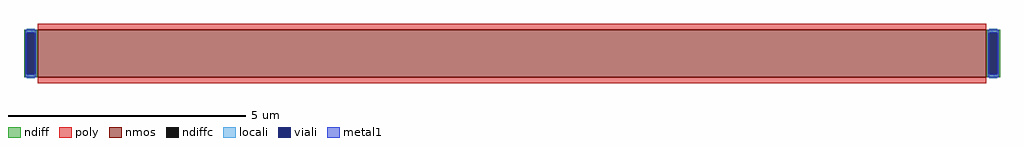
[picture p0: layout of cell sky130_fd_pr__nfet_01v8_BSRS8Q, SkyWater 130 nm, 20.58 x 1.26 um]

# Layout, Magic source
magic
tech sky130A
<< nmos >>
rect -1000 -50 1000 50
<< ndiff >>
rect -1029 44 -1000 50
rect -1029 -44 -1023 44
rect -1006 -44 -1000 44
rect -1029 -50 -1000 -44
rect 1000 44 1029 50
rect 1000 -44 1006 44
rect 1023 -44 1029 44
rect 1000 -50 1029 -44
<< ndiffc >>
rect -1023 -44 -1006 44
rect 1006 -44 1023 44
<< poly >>
rect -1000 50 1000 63
rect -1000 -63 1000 -50
<< locali >>
rect -1023 44 -1006 52
rect -1023 -52 -1006 -44
rect 1006 44 1023 52
rect 1006 -52 1023 -44
<< viali >>
rect -1023 -44 -1006 44
rect 1006 -44 1023 44
<< metal1 >>
rect -1026 44 -1003 50
rect -1026 -44 -1023 44
rect -1006 -44 -1003 44
rect -1026 -50 -1003 -44
rect 1003 44 1026 50
rect 1003 -44 1006 44
rect 1023 -44 1026 44
rect 1003 -50 1026 -44
<< properties >>
string gencell sky130_fd_pr__nfet_01v8
string library sky130
string parameters w 1 l 20 m 1 nf 1 diffcov 100 polycov 100 guard 0 glc 1 grc 1 gtc 1 gbc 1 tbcov 100 rlcov 100 topc 0 botc 0 poverlap 0 doverlap 1 lmin 0.15 wmin 0.42 compatible {sky130_fd_pr__nfet_01v8 sky130_fd_pr__nfet_01v8_lvt  sky130_fd_bs_flash__special_sonosfet_star  sky130_fd_pr__nfet_g5v0d10v5 sky130_fd_pr__nfet_05v0_nvt  sky130_fd_pr__nfet_03v3_nvt} full_metal 1 viasrc 100 viadrn 100 viagate 100 viagb 0 viagr 0 viagl 0 viagt 0
<< end >>
